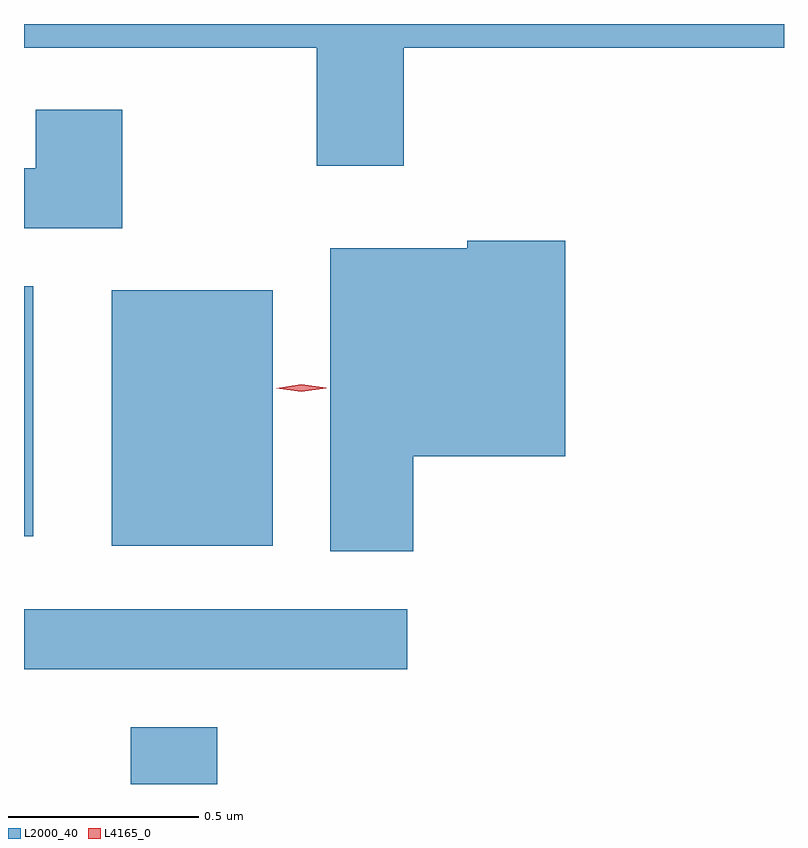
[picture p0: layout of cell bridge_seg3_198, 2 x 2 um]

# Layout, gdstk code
import gdstk
lib = gdstk.Library(unit=1e-6, precision=1e-09)
def R(c, l, rs):  # rectangles x0, y0, x1, y1
    for r in rs: c.add(gdstk.rectangle(r[:2], r[2:], *l))
def P(c, l, *ps):  # polygons
    for p in ps: c.add(gdstk.Polygon(p, *l))
L2000_40 = (2000, 40)
L4165_0 = (4165, 0)

bridge_seg3_198 = lib.new_cell('bridge_seg3_198')
R(bridge_seg3_198, L2000_40, [(787.141,1175.139,787.369,1175.289), (786.86,1175.441,787.868,1175.599), (787.091,1175.766,787.514,1176.439), (786.86,1175.791,786.884,1176.449)])
P(bridge_seg3_198, L2000_40, [(787.859,1177.076),(788.86,1177.076),(788.86,1177.139),(786.86,1177.139),(786.86,1177.076),(787.631,1177.076),(787.631,1176.766),(787.859,1176.766)],
  [(787.119,1176.914),(786.891,1176.914),(786.891,1176.759),(786.86,1176.759),(786.86,1176.601),(787.119,1176.601)],
  [(787.884,1176.001),(788.284,1176.001),(788.284,1176.569),(788.026,1176.569),(788.026,1176.549),(787.666,1176.549),(787.666,1175.751),(787.884,1175.751)])
P(bridge_seg3_198, L4165_0, [(787.59,1176.171),(787.524,1176.18),(787.524,1176.18),(787.524,1176.181),(787.59,1176.191),(787.656,1176.182),(787.656,1176.182),(787.656,1176.181)])

lib.write_gds('bridge_seg3_198.gds')
